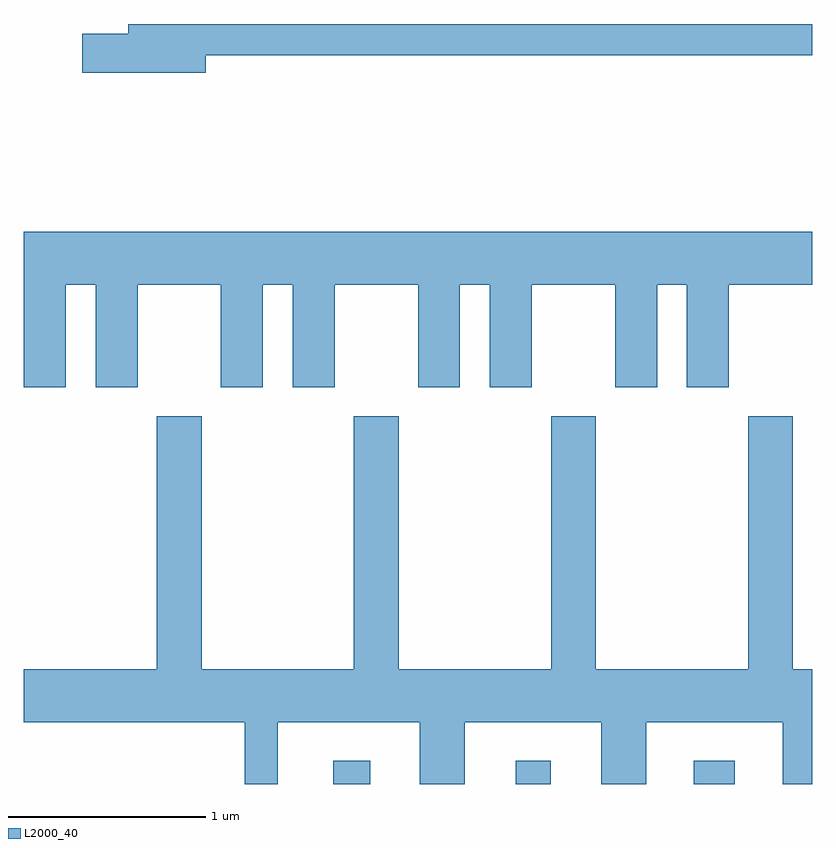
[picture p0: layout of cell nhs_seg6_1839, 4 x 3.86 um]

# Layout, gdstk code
import gdstk
lib = gdstk.Library(unit=1e-6, precision=1e-09)
def R(c, l, rs):  # rectangles x0, y0, x1, y1
    for r in rs: c.add(gdstk.rectangle(r[:2], r[2:], *l))
def P(c, l, *ps):  # polygons
    for p in ps: c.add(gdstk.Polygon(p, *l))
L2000_40 = (2000, 40)

nhs_seg6_1839 = lib.new_cell('nhs_seg6_1839')
R(nhs_seg6_1839, L2000_40, [(243.181,1554.162,243.369,1554.279), (244.106,1554.162,244.284,1554.279), (245.011,1554.162,245.219,1554.279)])
P(nhs_seg6_1839, L2000_40, [(242.534,1557.861),(245.611,1557.861),(245.611,1558.019),(242.141,1558.019),(242.141,1557.969),(241.906,1557.969),(241.906,1557.771),(242.534,1557.771)],
  [(241.824,1556.696),(241.976,1556.696),(241.976,1556.176),(242.189,1556.176),(242.189,1556.696),(242.611,1556.696),(242.611,1556.176),(242.824,1556.176),(242.824,1556.696),(242.976,1556.696),(242.976,1556.176),(243.189,1556.176),(243.189,1556.696),(243.611,1556.696),(243.611,1556.176),(243.824,1556.176),(243.824,1556.696),(243.976,1556.696),(243.976,1556.176),(244.189,1556.176),(244.189,1556.696),(244.611,1556.696),(244.611,1556.176),(244.824,1556.176),(244.824,1556.696),(244.976,1556.696),(244.976,1556.176),(245.189,1556.176),(245.189,1556.696),(245.611,1556.696),(245.611,1556.964),(241.611,1556.964),(241.611,1556.176),(241.824,1556.176)],
  [(242.899,1554.476),(243.621,1554.476),(243.621,1554.162),(243.849,1554.162),(243.849,1554.476),(244.541,1554.476),(244.541,1554.162),(244.769,1554.162),(244.769,1554.476),(245.461,1554.476),(245.461,1554.162),(245.611,1554.162),(245.611,1554.744),(245.514,1554.744),(245.514,1556.029),(245.286,1556.029),(245.286,1554.744),(244.514,1554.744),(244.514,1556.029),(244.286,1556.029),(244.286,1554.744),(243.514,1554.744),(243.514,1556.029),(243.286,1556.029),(243.286,1554.744),(242.514,1554.744),(242.514,1556.029),(242.286,1556.029),(242.286,1554.744),(241.611,1554.744),(241.611,1554.476),(242.731,1554.476),(242.731,1554.162),(242.899,1554.162)])

lib.write_gds('nhs_seg6_1839.gds')
